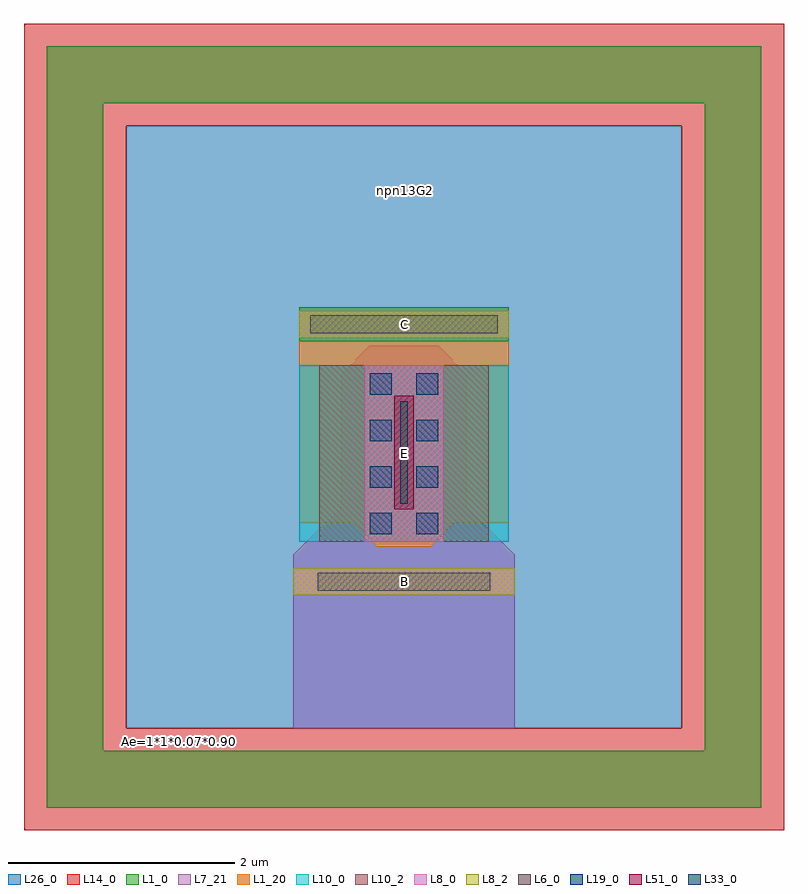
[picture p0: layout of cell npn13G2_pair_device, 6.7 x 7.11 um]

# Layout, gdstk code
import gdstk
lib = gdstk.Library(unit=1e-6, precision=1e-09)
def R(c, l, rs):  # rectangles x0, y0, x1, y1
    for r in rs: c.add(gdstk.rectangle(r[:2], r[2:], *l))
def A(c, l, x, y, w, h, nx, ny, dx, dy):  # array of equal rectangles
    R(c, l, [(x+i*dx, y+j*dy, x+i*dx+w, y+j*dy+h) for i in range(nx) for j in range(ny)])
def P(c, l, *ps):  # polygons
    for p in ps: c.add(gdstk.Polygon(p, *l))
L1_0 = (1, 0)
L1_20 = (1, 20)
L6_0 = (6, 0)
L7_21 = (7, 21)
L8_0 = (8, 0)
L8_2 = (8, 2)
L10_0 = (10, 0)
L10_2 = (10, 2)
L14_0 = (14, 0)
L19_0 = (19, 0)
L26_0 = (26, 0)
L33_0 = (33, 0)
L51_0 = (51, 0)

npn13g2_pair_device = lib.new_cell('npn13G2_pair_device')
R(npn13g2_pair_device, L1_0, [(-0.925,0.98,0.925,1.28)])
P(npn13g2_pair_device, L1_0, [(-3.15,-3.13),(-3.15,3.58),(2.65,3.58),(2.65,3.08),(-2.65,3.08),(-2.65,-2.63),(2.65,-2.63),(2.65,3.58),(3.15,3.58),(3.15,-3.13)])
P(npn13g2_pair_device, L1_20, [(-0.235,-0.83),(-0.445,-0.62),(-0.925,-0.62),(-0.925,0.98),(0.925,0.98),(0.925,-0.62),(0.445,-0.62),(0.235,-0.83)])
R(npn13g2_pair_device, L6_0, [(-0.76,-1.22,0.76,-1.06), (-0.825,1.05,0.825,1.21)])
P(npn13g2_pair_device, L7_21, [(-0.975,-2.43),(-0.975,-0.9),(-0.555,-0.48),(-0.555,0.69),(-0.305,0.94),(0.305,0.94),(0.555,0.69),(0.555,-0.48),(0.975,-0.9),(0.975,-2.43)])
R(npn13g2_pair_device, L8_0, [(-0.975,-1.26,0.975,-1.02), (-0.35,-0.785,0.35,0.77), (-0.925,1.01,0.925,1.25)])
R(npn13g2_pair_device, L8_2, [(-0.975,-1.26,0.975,-1.02), (-0.925,1.01,0.925,1.25)])
R(npn13g2_pair_device, L10_0, [(-0.925,-0.785,0.925,0.77)])
R(npn13g2_pair_device, L10_2, [(-0.745,-0.785,0.745,0.77)])
P(npn13g2_pair_device, L14_0, [(-3.35,-3.33),(-3.35,3.78),(2.45,3.78),(2.45,2.88),(-2.45,2.88),(-2.45,-2.43),(2.45,-2.43),(2.45,3.78),(3.35,3.78),(3.35,-3.33)])
A(npn13g2_pair_device, L19_0, -0.3, -0.72, 0.19, 0.19, 1, 4, 0, 0.41)
A(npn13g2_pair_device, L19_0, 0.11, -0.72, 0.19, 0.19, 1, 4, 0, 0.41)
R(npn13g2_pair_device, L26_0, [(-2.45,-2.43,2.45,2.88)])
R(npn13g2_pair_device, L33_0, [(-0.035,-0.45,0.035,0.45)])
R(npn13g2_pair_device, L51_0, [(-0.085,-0.5,0.085,0.5)])
npn13g2_pair_device.add(gdstk.Label('npn13G2', (0.015,2.31), layer=63, texttype=0))
npn13g2_pair_device.add(gdstk.Label('C', (0,1.13), layer=63, texttype=0))
npn13g2_pair_device.add(gdstk.Label('B', (0,-1.14), layer=63, texttype=0))
npn13g2_pair_device.add(gdstk.Label('E', (0,-0.007), layer=63, texttype=0))
npn13g2_pair_device.add(gdstk.Label('Ae=1*1*0.07*0.90', (-1.977,-2.546), layer=63, texttype=0))
npn13g2_pair_device.add(gdstk.Label('npn13G2', (0,0), layer=51, texttype=0))
npn13g2_pair_device.add(gdstk.Label('C', (0,1.13), layer=8, texttype=25))
npn13g2_pair_device.add(gdstk.Label('B', (0,-1.14), layer=8, texttype=25))
npn13g2_pair_device.add(gdstk.Label('E', (0,-0.008), layer=10, texttype=25))

lib.write_gds('npn13G2_pair_device.gds')
